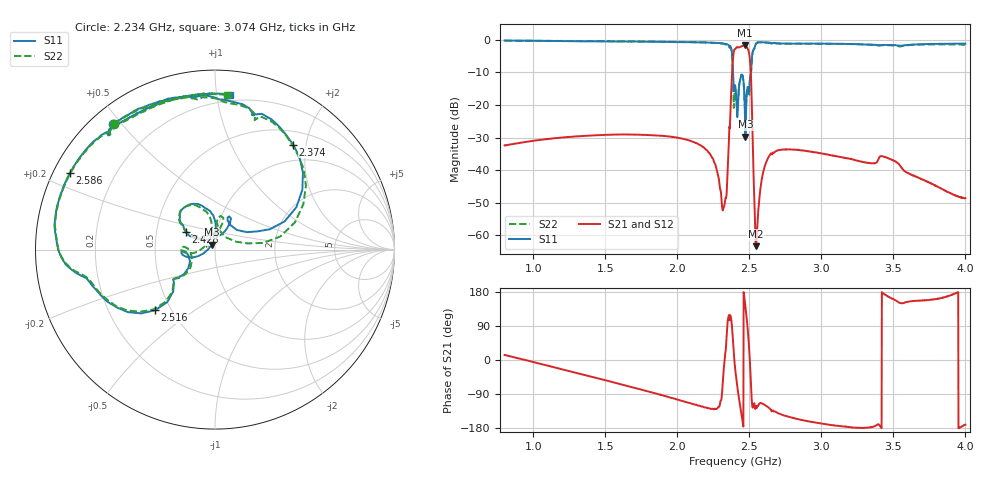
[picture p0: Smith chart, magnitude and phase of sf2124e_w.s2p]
# Hz S RI R 50
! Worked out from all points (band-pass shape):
!   1601 points, 800 MHz to 4 GHz, reference 50 ohm
!   highest |S21| = -1.71 dB at 2.466 GHz (marker M1); lowest = -63.3 dB at 2.544 GHz (marker M2)
!   |S21| within 3 dB of the highest: 2.389 GHz to 2.5 GHz (111.3 MHz wide, 4.55 % of centre)
!   lowest |S11| = -29.7 dB at 2.472 GHz (marker M3), VSWR 1.07, Z = 48.1 + j2.56 ohm
!   |S11| at or under -10 dB: 2.386 GHz to 2.511 GHz (125 MHz wide, 5.1 % of centre)
!   |S22| runs from -24.9 to -0.3 dB; largest |S21 - S12| = 0.0039
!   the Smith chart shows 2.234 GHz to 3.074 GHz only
!   S11 on the Smith chart (normalised r, x): 2.234 GHz: 0.06, +0.48; 2.374 GHz: 0.71, +1.77; 2.428 GHz: 0.71, +0.14; 2.516 GHz: 0.41, -0.36; 2.586 GHz: 0.05, +0.25; 3.074 GHz: 0.16, +1.09
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8e8  0.2563 -0.9379  0.0233 0.00549  0.0232 0.00557  0.2265 -0.9395
1.334e9  -0.5735 -0.7519  0.0264 -0.0203  0.0264 -0.0203  -0.5823 -0.755
1.868e9  -0.9285 0.0385  -8.6e-05 -0.0339  -8.08e-06 -0.0339  -0.9341 0.0305
2.234e9  -0.5657 0.701  -0.0104 -0.0128  -0.0104 -0.0128  -0.5623 0.7021
2.326e9  -0.1831 0.8516  0.00285 -0.000413  0.00287 -0.000413  -0.1639 0.8472
2.348e9  0.0208 0.8373  -0.00117 0.00867  -0.00116 0.00866  0.0483 0.823
2.374e9  0.4356 0.5848  -0.0456 0.1581  -0.0454 0.1584  0.4641 0.5249
2.4e9  0.0799 0.185  0.6773 -0.2409  0.6779 -0.2424  0.0317 0.1871
2.428e9  -0.1632 0.0975  -0.1608 -0.7436  -0.1612 -0.7427  -0.1634 0.102
2.446e9  -0.1719 0.2345  -0.6536 -0.4575  -0.6546 -0.4565  -0.1799 0.2289
2.466e9  0.00494 0.1241  -0.7788 0.2592  -0.779 0.2632  -0.017 0.1258
2.472e9  -0.019 0.0266  -0.6454 0.4957  -0.6454 0.4981  -0.0427 0.0375
2.498e9  -0.139 -0.068  0.526 0.3235  0.5269 0.323  -0.1276 -0.0575
2.516e9  -0.3335 -0.3376  -0.03 -0.1144  -0.0299 -0.1144  -0.3411 -0.333
2.544e9  -0.854 -0.0473  -0.000387 -0.000565  -0.000384 -0.000577  -0.8566 -0.0397
2.556e9  -0.8925 0.1563  -0.000848 -0.00133  -0.000822 -0.00133  -0.89 0.1629
2.586e9  -0.8091 0.4267  -0.00305 -0.0066  -0.00301 -0.00663  -0.8031 0.4313
2.678e9  -0.5475 0.697  -0.0137 -0.0132  -0.0138 -0.0133  -0.5367 0.6988
2.934e9  -0.1135 0.8611  -0.0184 -0.0054  -0.0184 -0.00539  -0.1229 0.8583
3.074e9  0.0829 0.8628  -0.0167 -0.00232  -0.0167 -0.00241  0.0644 0.8608
3.468e9  0.4935 0.6681  -0.0147 0.00347  -0.0147 0.00358  0.4639 0.6799
4e9  0.8367 0.2427  -0.00367 -0.000615  -0.00368 -0.000617  0.8117 0.2108
